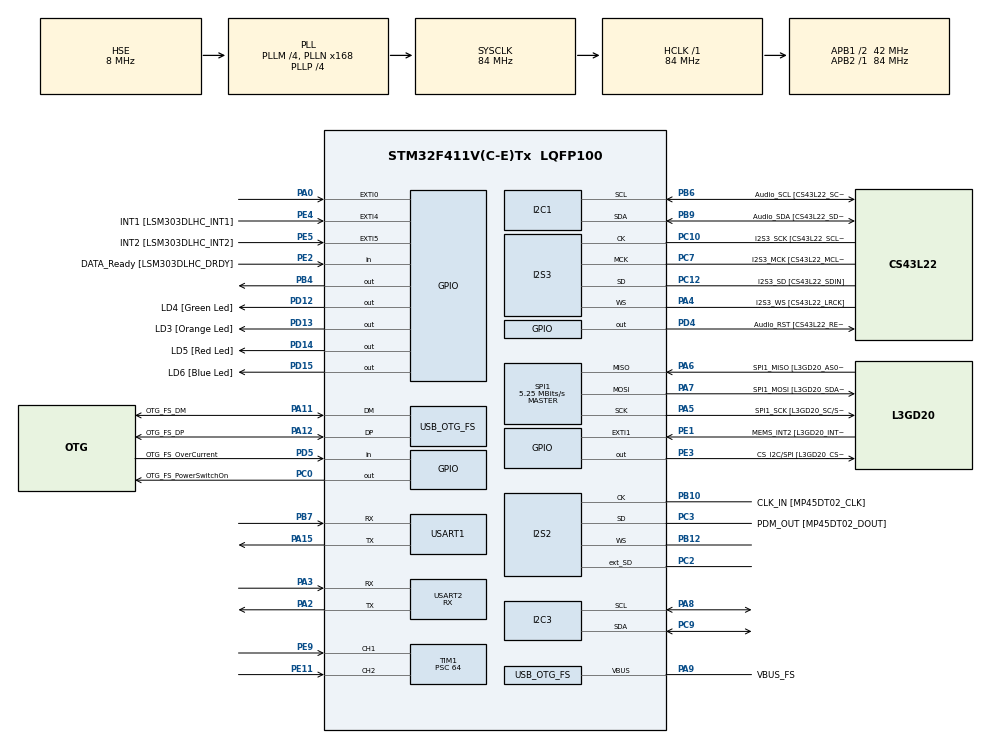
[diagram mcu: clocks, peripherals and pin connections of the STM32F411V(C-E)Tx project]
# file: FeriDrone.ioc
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FREERTOS.BinarySemaphores01=wifiBufferSemaphore,Dynamic,NULL
FREERTOS.Tasks01=merjenjeNagiba,24,512,StartMerjenjeNagiba,Default,NULL,Dynamic,NULL,NULL;trilateracija,24,512,StartTrilateracija,Default,NULL,Dynamic,NULL,NULL;pilotiranje,24,512,StartPilotiranje,Default,NULL,Dynamic,NULL,NULL;posiljanjeWifi,24,512,StartPosiljanjeWifi,Default,NULL,Dynamic,NULL,NULL;transmitPWM,24,512,StartTransmitPWM,Default,NULL,Dynamic,NULL,NULL;altitudeMeasure,24,512,StartAltitudeMeasure,Default,NULL,Dynamic,NULL,NULL
FREERTOS.configMINIMAL_STACK_SIZE=512
I2C1.I2C_Mode=I2C_Fast
I2C3.DualAddressMode=I2C_DUALADDRESS_DISABLE
I2C3.I2C_Mode=I2C_Fast
I2S2.AudioFreq=I2S_AUDIOFREQ_96K
I2S2.ErrorAudioFreq=0.15 %
I2S2.FullDuplexMode=I2S_FULLDUPLEXMODE_ENABLE
I2S2.Instance=SPI$Index
I2S2.RealAudioFreq=96.153 KHz
I2S2.VirtualMode=I2S_MODE_MASTER
I2S3.AudioFreq=I2S_AUDIOFREQ_96K
I2S3.ErrorAudioFreq=-6.99 %
I2S3.FullDuplexMode=I2S_FULLDUPLEXMODE_DISABLE
I2S3.Instance=SPI$Index
I2S3.RealAudioFreq=89.285 KHz
I2S3.VirtualMode=I2S_MODE_MASTER
Mcu.Family=STM32F4
Mcu.Name=STM32F411V(C-E)Tx
Mcu.Package=LQFP100
NVIC.OTG_FS_IRQn=true\:5\:0\:false\:false\:true\:true\:true\:true
NVIC.PriorityGroup=NVIC_PRIORITYGROUP_4
NVIC.TIM1_BRK_TIM9_IRQn=true\:5\:0\:false\:false\:true\:true\:true\:true
NVIC.TIM1_CC_IRQn=true\:5\:0\:false\:false\:true\:true\:true\:true
NVIC.TIM1_UP_TIM10_IRQn=true\:0\:0\:false\:false\:true\:false\:false\:true
NVIC.TIM3_IRQn=true\:0\:0\:false\:false\:true\:false\:true\:true
NVIC.TimeBase=TIM1_UP_TIM10_IRQn
NVIC.TimeBaseIP=TIM10
PA0-WKUP.GPIO_ModeDefaultEXTI=GPIO_MODE_EVT_RISING
PA0-WKUP.Signal=GPXTI0
PA10.GPIO_Label=OTG_FS_ID
PA10.Signal=USB_OTG_FS_ID
PA11.GPIO_Label=OTG_FS_DM
PA11.Mode=Device_Only
PA11.Signal=USB_OTG_FS_DM
PA12.GPIO_Label=OTG_FS_DP
PA12.Mode=Device_Only
PA12.Signal=USB_OTG_FS_DP
PA13.GPIO_Label=SWDIO
PA13.Mode=Serial_Wire
PA13.Signal=SYS_JTMS-SWDIO
PA14.GPIO_Label=SWCLK
PA14.Mode=Serial_Wire
PA14.Signal=SYS_JTCK-SWCLK
PA15.Mode=Asynchronous
PA15.Signal=USART1_TX
PA2.Mode=Asynchronous
PA2.Signal=USART2_TX
PA3.Mode=Asynchronous
PA3.Signal=USART2_RX
PA4.GPIO_Label=I2S3_WS [CS43L22_LRCK]
PA4.GPIO_Mode=GPIO_MODE_AF_PP
PA4.GPIO_PuPd=GPIO_NOPULL
PA4.GPIO_Speed=GPIO_SPEED_FREQ_LOW
PA4.Mode=Half_Duplex_Master
PA4.Signal=I2S3_WS
PA5.GPIO_Label=SPI1_SCK [L3GD20_SC/SPC]
PA5.Mode=Full_Duplex_Master
PA5.Signal=SPI1_SCK
PA6.GPIO_Label=SPI1_MISO [L3GD20_AS0/SDO]
PA6.Mode=Full_Duplex_Master
PA6.Signal=SPI1_MISO
PA7.GPIO_Label=SPI1_MOSI [L3GD20_SDA/SDI/SDO]
PA7.Mode=Full_Duplex_Master
PA7.Signal=SPI1_MOSI
PA8.Mode=I2C
PA8.Signal=I2C3_SCL
PA9.GPIO_Label=VBUS_FS
PA9.Mode=Activate_VBUS
PA9.Signal=USB_OTG_FS_VBUS
PB10.GPIO_Label=CLK_IN [MP45DT02_CLK]
PB10.Mode=Full_Duplex_Master
PB10.Signal=I2S2_CK
PB12.Mode=Full_Duplex_Master
PB12.Signal=I2S2_WS
PB3.GPIO_Label=SWO
PB3.Signal=SYS_JTDO-SWO
PB4.Signal=GPIO_Output
PB6.GPIO_Label=Audio_SCL [CS43L22_SCL]
PB6.GPIO_Mode=GPIO_MODE_AF_OD
PB6.GPIO_PuPd=GPIO_NOPULL
PB6.GPIO_Speed=GPIO_SPEED_FREQ_LOW
PB6.Mode=I2C
PB6.Signal=I2C1_SCL
PB7.Mode=Asynchronous
PB7.Signal=USART1_RX
PB9.GPIO_Label=Audio_SDA [CS43L22_SDA]
PB9.GPIO_Mode=GPIO_MODE_AF_OD
PB9.GPIO_PuPd=GPIO_NOPULL
PB9.GPIO_Speed=GPIO_SPEED_FREQ_LOW
PB9.Mode=I2C
PB9.Signal=I2C1_SDA
PC0.GPIO_Label=OTG_FS_PowerSwitchOn
PC0.PinState=GPIO_PIN_SET
PC0.Signal=GPIO_Output
PC10.GPIO_Label=I2S3_SCK [CS43L22_SCLK]
PC10.GPIO_Mode=GPIO_MODE_AF_PP
PC10.GPIO_PuPd=GPIO_NOPULL
PC10.GPIO_Speed=GPIO_SPEED_FREQ_LOW
PC10.Mode=Half_Duplex_Master
PC10.Signal=I2S3_CK
PC12.GPIO_Label=I2S3_SD [CS43L22_SDIN]
PC12.GPIO_Mode=GPIO_MODE_AF_PP
PC12.GPIO_PuPd=GPIO_NOPULL
PC12.GPIO_Speed=GPIO_SPEED_FREQ_LOW
PC12.Mode=Half_Duplex_Master
PC12.Signal=I2S3_SD
PC14-OSC32_IN.GPIO_Label=PC14-OSC32_IN
PC14-OSC32_IN.Signal=RCC_OSC32_IN
PC15-OSC32_OUT.GPIO_Label=PC15-OSC32_OUT
PC15-OSC32_OUT.Signal=RCC_OSC32_OUT
PC2.Mode=Full_Duplex_Master
PC2.Signal=I2S2_ext_SD
PC3.GPIO_Label=PDM_OUT [MP45DT02_DOUT]
PC3.Mode=Full_Duplex_Master
PC3.Signal=I2S2_SD
PC7.GPIO_Label=I2S3_MCK [CS43L22_MCLK]
PC7.GPIO_Mode=GPIO_MODE_AF_PP
PC7.GPIO_PuPd=GPIO_NOPULL
PC7.GPIO_Speed=GPIO_SPEED_FREQ_LOW
PC7.Mode=Master_Clock_Activated
PC7.Signal=I2S3_MCK
PC9.Mode=I2C
PC9.Signal=I2C3_SDA
PD12.GPIO_Label=LD4 [Green Led]
PD12.GPIO_PuPd=GPIO_NOPULL
PD12.GPIO_Speed=GPIO_SPEED_FREQ_LOW
PD12.Signal=GPIO_Output
PD13.GPIO_Label=LD3 [Orange Led]
PD13.GPIO_PuPd=GPIO_NOPULL
PD13.GPIO_Speed=GPIO_SPEED_FREQ_LOW
PD13.Signal=GPIO_Output
PD14.GPIO_Label=LD5 [Red Led]
PD14.GPIO_PuPd=GPIO_NOPULL
PD14.GPIO_Speed=GPIO_SPEED_FREQ_LOW
PD14.Signal=GPIO_Output
PD15.GPIO_Label=LD6 [Blue Led]
PD15.GPIO_PuPd=GPIO_NOPULL
PD15.GPIO_Speed=GPIO_SPEED_FREQ_LOW
PD15.Signal=GPIO_Output
PD4.GPIO_Label=Audio_RST [CS43L22_RESET]
PD4.Signal=GPIO_Output
PD5.GPIO_Label=OTG_FS_OverCurrent
PD5.Signal=GPIO_Input
PE1.GPIO_Label=MEMS_INT2 [L3GD20_INT2]
PE1.GPIO_ModeDefaultEXTI=GPIO_MODE_EVT_RISING
PE1.Signal=GPXTI1
PE11.Signal=S_TIM1_CH2
PE2.GPIO_Label=DATA_Ready [LSM303DLHC_DRDY]
PE2.Signal=GPIO_Input
PE3.GPIO_Label=CS_I2C/SPI [L3GD20_CS_I2C/SPI]
PE3.GPIO_Speed=GPIO_SPEED_FREQ_HIGH
PE3.Signal=GPIO_Output
PE4.GPIO_Label=INT1 [LSM303DLHC_INT1]
PE4.GPIO_ModeDefaultEXTI=GPIO_MODE_EVT_RISING
PE4.Signal=GPXTI4
PE5.GPIO_Label=INT2 [LSM303DLHC_INT2]
PE5.GPIO_ModeDefaultEXTI=GPIO_MODE_EVT_RISING
PE5.Signal=GPXTI5
PE9.Signal=S_TIM1_CH1
PH0\ -\ OSC_IN.GPIO_Label=PH0-OSC_IN
PH0\ -\ OSC_IN.Mode=HSE-External-Oscillator
PH0\ -\ OSC_IN.Signal=RCC_OSC_IN
PH1\ -\ OSC_OUT.GPIO_Label=PH1-OSC_OUT
PH1\ -\ OSC_OUT.Mode=HSE-External-Oscillator
PH1\ -\ OSC_OUT.Signal=RCC_OSC_OUT
ProjectManager.HeapSize=0x800
ProjectManager.StackSize=0x800
ProjectManager.TargetToolchain=STM32CubeIDE
RCC.48MHZClocksFreq_Value=48000000
RCC.AHBFreq_Value=84000000
RCC.APB1CLKDivider=RCC_HCLK_DIV2
RCC.APB1Freq_Value=42000000
RCC.APB1TimFreq_Value=84000000
RCC.APB2Freq_Value=84000000
RCC.APB2TimFreq_Value=84000000
RCC.CortexFreq_Value=84000000
RCC.HCLKFreq_Value=84000000
RCC.HSE_VALUE=8000000
RCC.HSI_VALUE=16000000
RCC.LSE_VALUE=32768
RCC.PLLI2SM=5
RCC.PLLI2SN=200
RCC.PLLM=4
RCC.PLLN=168
RCC.PLLP=RCC_PLLP_DIV4
RCC.PLLQ=7
RCC.SYSCLKFreq_VALUE=84000000
RCC.SYSCLKSource=RCC_SYSCLKSOURCE_PLLCLK
RCC.VCOOutputFreq_Value=336000000
SH.S_TIM1_CH1.0=TIM1_CH1,Input_Capture1_from_TI1
SH.S_TIM1_CH2.0=TIM1_CH2,TriggerSource_TI2FP2
SH.S_TIM1_CH2.1=TIM1_CH2,Input_Capture2_from_TI2
SPI1.BaudRatePrescaler=SPI_BAUDRATEPRESCALER_16
SPI1.CLKPhase=SPI_PHASE_2EDGE
SPI1.CLKPolarity=SPI_POLARITY_HIGH
SPI1.CalculateBaudRate=5.25 MBits/s
SPI1.Direction=SPI_DIRECTION_2LINES
SPI1.Mode=SPI_MODE_MASTER
SPI1.VirtualType=VM_MASTER
TIM1.Channel-Input_Capture1_from_TI1=TIM_CHANNEL_1
TIM1.Channel-Input_Capture2_from_TI2=TIM_CHANNEL_2
TIM1.Period=65535
TIM1.Prescaler=64
TIM1.Slave_TriggerPolarity=TIM_TRIGGERPOLARITY_FALLING
TIM3.Period=65535
TIM3.Prescaler=64
USART1.VirtualMode=VM_ASYNC
USART2.Mode=MODE_RX
USART2.VirtualMode=VM_ASYNC
USB_DEVICE.CLASS_NAME_FS=CDC
USB_DEVICE.VirtualMode=Cdc
USB_DEVICE.VirtualModeFS=Cdc_FS
USB_OTG_FS.VirtualMode=Device_Only
VP_FREERTOS_VS_CMSIS_V2.Mode=CMSIS_V2
VP_SYS_VS_tim10.Mode=TIM10
VP_TIM1_VS_ControllerModeReset.Mode=Reset Mode
VP_TIM3_VS_ClockSourceINT.Mode=Internal
VP_USB_DEVICE_VS_USB_DEVICE_CDC_FS.Mode=CDC_FS
board=STM32F411E-DISCO

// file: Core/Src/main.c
/* USER CODE BEGIN Header */
/**
 ******************************************************************************
 * @file           : main.c
 * @brief          : Main program body
 ******************************************************************************
 * @attention
 *
 * <h2><center>&copy; Copyright (c) 2019 STMicroelectronics.
 * All rights reserved.</center></h2>
 *
 * This software component is licensed by ST under Ultimate Liberty license
 * SLA0044, the "License"; You may not use this file except in compliance with
 * the License. You may obtain a copy of the License at:
 *                             www.st.com/SLA0044
 *
 ******************************************************************************
 */
/* USER CODE END Header */

#include "main.h"
#include "cmsis_os.h"
#include "usb_device.h"

/* USER CODE BEGIN Includes */
#include "usbd_cdc_if.h"
#include "vl53l0x_api.h"
#include "math.h"
#include "MadgwickAHRS.h"
/* USER CODE END Includes */

/* USER CODE BEGIN PD */
#define TOFS_devID 0x29

#define HELIX_FREQ 0.2f
#define HELIX_WL 5.0f
#define HELIX_STEP 1000

// MOCK
#define MOCK_TRILATERATION 1
#define MOCK_NAGIB 0
#define MOCK_ALTITUDE 0
#define MOCK_PWM_GEN 0

#define SEND_TRILATERATION 0
#define SEND_NAGIB 1
#define SEND_ALTITUDE 1
#define SEND_PWM_RAW 1
#define SEND_PWM_GEN 1
#define SEND_PWM_OUTGOING 0
#define SEND_THRUST_AIRSIM 0
#define SEND_AUTOLANDER_DEBUG 1

#define COMM_USB 0
#define COMM_WIFI 1
#define COMM_MODE COMM_WIFI

#define WIFI_BUFFER_SIZE 128
/* USER CODE END PD */

I2C_HandleTypeDef hi2c1;
I2C_HandleTypeDef hi2c3;

I2S_HandleTypeDef hi2s2;
I2S_HandleTypeDef hi2s3;

SPI_HandleTypeDef hspi1;

TIM_HandleTypeDef htim1;
TIM_HandleTypeDef htim3;

UART_HandleTypeDef huart1;
UART_HandleTypeDef huart2;

osThreadId_t merjenjeNagibaHandle;
osThreadId_t trilateracijaHandle;
osThreadId_t pilotiranjeHandle;
osThreadId_t posiljanjeWifiHandle;
osThreadId_t transmitPWMHandle;
osThreadId_t altitudeMeasureHandle;
osSemaphoreId_t wifiBufferSemaphoreHandle;
/* USER CODE BEGIN PV */

// AUTOLANDER
// algorithm
#define HEIGHT_SAMPLING_FREQ 30.0f
#define HEIGHT_SAMPLING_INTE (1.0f / HEIGHT_SAMPLING_FREQ)
#define TRILATERATION_SAMPLING_FREQ HEIGHT_SAMPLING_FREQ
#define ROUGH_EST_SAMPLES_NUM 6 // ustreza reaction time-u nekje 0.35s
volatile uint8_t heightSample_idx = 0;
volatile float heightSamples[ROUGH_EST_SAMPLES_NUM];
volatile float velocities[ROUGH_EST_SAMPLES_NUM];

// schedule
volatile uint8_t autolanderCommencing = 0;
volatile uint8_t autolanderScheduleReady = 0;
volatile uint16_t ts = 0;
volatile uint16_t tsDecel = 0;
volatile uint16_t tsStopDecel = 0;

// drone & physics
#define DRONE_MASS 0.5f
#define G 9.81f
#define OBJECT_MAX_THRUST 11.06f
#define OBJECT_NEUTRAL_THRUST (DRONE_MASS * G)

// PWM
#define PWM_FREQ 50.0f
#define THROTTLE_CHANNEL 2
#define AUTOLANDER_CHANNEL 7
#define PWM_LOW 800
#define PWM_HIGH 2050
#define PWM_PAUSE_LOW 6000
#define PWM_PAUSE_HIGH 14000
#define PWM_PACKET_LENGTH 25836
#define PWM_PAUSE 517
#define PWM_MS 1292
volatile uint16_t PWM_paket_new[8];
volatile uint8_t PWM_paket_ready = 0;
volatile uint16_t PWM_generated[8];
volatile uint8_t PWM_generated_ready = 0;
volatile uint16_t delay[18];
volatile uint8_t delay_idx = 0;

// wifi
float wifiBuffer[WIFI_BUFFER_SIZE];
volatile uint8_t wifiBufferIdx = 0;

// usb -- debug
extern float height_from_simul;
extern uint8_t height_ready;

/* USER CODE END PV */

void SystemClock_Config(void);
static void MX_GPIO_Init(void);
static void MX_I2C1_Init(void);
static void MX_I2S2_Init(void);
static void MX_I2S3_Init(void);
static void MX_SPI1_Init(void);
static void MX_I2C3_Init(void);
static void MX_TIM1_Init(void);
static void MX_TIM3_Init(void);
static void MX_USART1_UART_Init(void);
static void MX_USART2_UART_Init(void);
void StartMerjenjeNagiba(void *argument);
void StartTrilateracija(void *argument);
void StartPilotiranje(void *argument);
void StartPosiljanjeWifi(void *argument);
void StartTransmitPWM(void *argument);
void StartAltitudeMeasure(void *argument);

/* USER CODE BEGIN PFP */
uint8_t spi1_beriRegister(uint8_t);
void spi1_beriRegistre(uint8_t, uint8_t*, uint8_t);
void spi1_pisiRegister(uint8_t, uint8_t);
void initL3GD20(void);
uint8_t i2c1_pisiRegister(uint8_t, uint8_t, uint8_t);
void i2c1_beriRegistre(uint8_t, uint8_t, uint8_t*, uint8_t, uint8_t);
void initLSM303DLHC(void);
void HAL_TIM_PeriodElapsedCallback(TIM_HandleTypeDef *htim);
void initEsp8622TcpClient(void);
/* USER CODE END PFP */

/* USER CODE BEGIN 0 */

/*
 * Packs data in 5 floats large packet and adds it to queue;
 * Packet: [header * 1, values * (1-4), nil * (0-3)]
 */
void addToWifiBuffer(float* data, uint8_t size, uint8_t* lastBufferIdx){
	uint8_t nil[4] = { 0x00, 0x00, 0x00, 0x00 };
	float nil_f;
	memcpy(&nil_f, &nil, sizeof(float));
	if (wifiBufferIdx > WIFI_BUFFER_SIZE - size - 1){
		for (int i = 0; i < size; i++){
			// overwrite previous measurement of this task if buffer full
			wifiBuffer[i + *lastBufferIdx] = *(data + i);
		}
		for (int i = size; i < 5; i++) {
			wifiBuffer[i + *lastBufferIdx] = nil_f;
		}
	} else {
		for (int i = 0; i < size; i++){
			wifiBuffer[i + wifiBufferIdx] = *(data + i);
		}
		for (int i = size; i < 5; i++) {
			wifiBuffer[i + *lastBufferIdx] = nil_f;
		}
		*lastBufferIdx = wifiBufferIdx;
		wifiBufferIdx += 5;
	}

	return;
}

void addPWMToWifiBuffer(uint16_t* data, float header, uint8_t* lastBufferIdx){
	if (wifiBufferIdx > WIFI_BUFFER_SIZE - 5){
		wifiBuffer[(*lastBufferIdx)] = header;
		memcpy(&wifiBuffer[(*lastBufferIdx) + 1], data, 8 * sizeof(uint16_t));
	} else {
		wifiBuffer[wifiBufferIdx] = header;
		memcpy(&wifiBuffer[wifiBufferIdx + 1], data, 8 * sizeof(uint16_t));
		*lastBufferIdx = wifiBufferIdx;
		wifiBufferIdx += 5;
	}
}

void init_autolander(void) {
	autolanderCommencing = 1;
	autolanderScheduleReady = 0;
	ts = 0;
	heightSample_idx = 0;
}

void terminate_autolander(void) {
	autolanderCommencing = 0;
	autolanderScheduleReady = 0;
	ts = 0;
	heightSample_idx = 0;
}

uint8_t isAutolandRequested(uint16_t* PWM){
	return *(PWM + AUTOLANDER_CHANNEL) > 1800;
}

void autolander_compileSchedule(void){
	float sVel = 0.0f;
	for (uint8_t i = 0; i < ROUGH_EST_SAMPLES_NUM; i++){
		sVel -= velocities[i] / ROUGH_EST_SAMPLES_NUM;
	}
	float sAlt = 0.0f;
	for (uint8_t i = 0; i < ROUGH_EST_SAMPLES_NUM; i++){
		float v_i = sVel - i * HEIGHT_SAMPLING_INTE / 2.0f * G;
		sAlt += (heightSamples[i] + v_i * HEIGHT_SAMPLING_INTE * i) / ROUGH_EST_SAMPLES_NUM;
	}

	float h = sAlt + sVel * sVel / 2.0f / G;
	float aimedAltitude = 0.25;
	if (aimedAltitude < h / 20.0f){
		aimedAltitude = h / 20.0f;
	}
	h -= aimedAltitude;

	float F_d = OBJECT_MAX_THRUST - DRONE_MASS * G;
	float a_d = F_d / DRONE_MASS;
	float x = G * h / (G + a_d);
	float h_allowTravel = h - x;

	float timeToStartDecel = sqrt(2.0f * h_allowTravel / G);
	float moveTimeStep = sVel / G / HEIGHT_SAMPLING_INTE;

	tsDecel = (int)(timeToStartDecel / HEIGHT_SAMPLING_INTE + moveTimeStep);

	float maxVelocity = timeToStartDecel * G;
	float decelTime = maxVelocity / a_d;

	tsStopDecel = (int)(tsDecel + decelTime / HEIGHT_SAMPLING_INTE) + 1;

	autolanderScheduleReady = 1;

	if (SEND_AUTOLANDER_DEBUG) {
		float header;
		char b[] = { 0xaa, 0xa3, 0xaa, 0xa3 };
		memcpy(&header, &b, sizeof(float));

		float debug[5] = { header, sVel, sAlt, tsDecel, tsStopDecel };

		if (osSemaphoreAcquire(wifiBufferSemaphoreHandle, 5) == osOK){
			uint8_t idx = 0; // if necessary (buffer full), just overwrite data on idx 0 - nothing else is more important to send
			addToWifiBuffer(debug, 5, &idx);
			osSemaphoreRelease(wifiBufferSemaphoreHandle);
		}
	}

	return;
}

void autolander_newMeasurement(float measurement){
	if (!autolanderCommencing || autolanderScheduleReady) {
		ts++;
		return;
	}

	if (heightSample_idx < ROUGH_EST_SAMPLES_NUM){
		heightSamples[heightSample_idx] = measurement;
	} else if (heightSample_idx < ROUGH_EST_SAMPLES_NUM * 2){
		float velocityStep = (ts - ROUGH_EST_SAMPLES_NUM / 2) * HEIGHT_SAMPLING_INTE * G;
		velocities[heightSample_idx - ROUGH_EST_SAMPLES_NUM] = (heightSamples[heightSample_idx - ROUGH_EST_SAMPLES_NUM] - measurement) / (HEIGHT_SAMPLING_INTE * ROUGH_EST_SAMPLES_NUM) - velocityStep;
	}

	heightSample_idx++;

	if (heightSample_idx == ROUGH_EST_SAMPLES_NUM * 2) {
		autolander_compileSchedule();
	}

	ts++;
	return;
}

void CompressBuffer(void) {
	/* todo: Aljaz
	 *
	 * stiskanje 6 tokov (roll, pitch, yaw, pos_{x,y,z})
	 * vsak tok stiskaj posebej (vseh 6)
	 *
	 * globalno si shrani podatek o zadnji vrednosti iz vsakega toka ( float lastValue[6] )
	 * 	- da, vsakic ko kompresiras nov buffer/batch, ne zacnes znova
	 *
	 * 	sparsaj buffer - ugotovi, za kateri paket gre (0xAAAB static castan v float za roll, pitch yaw in 0xAAAC za pos_{x,y,z})
	 * 	floatu, ki je header sledijo 3 floati, ki so vrednosti; isti vrstni red, kot so nasteti (r->p->y oz. x->y->z)
	 *
	 * lahko si zamislis svoj protokol, kako bos zapisal nazaj v buffer (recimo ne rabis pisat headerjev kot celih floatov nazaj v buffer)
	 * prek USB/Wifi bo sel del bufferja; of indexa 0 do indexa wifiBufferIdx
	 * 	- kompresirano vsebino zapisi na zacetek bufferja in nastavi index, do kod naj se poslje
	 *
	*/
}

VL53L0X_Error InitDevice(VL53L0X_Dev_t *pMyDevice) {
  VL53L0X_Error Status = VL53L0X_ERROR_NONE;
  uint8_t VhvSettings, PhaseCal, isApertureSpads;
  uint32_t refSpadCount;

  if (Status == VL53L0X_ERROR_NONE)
    Status = VL53L0X_DataInit(pMyDevice);

  if (Status == VL53L0X_ERROR_NONE)
    Status = VL53L0X_StaticInit(pMyDevice);

  if (Status == VL53L0X_ERROR_NONE)
    Status = VL53L0X_PerformRefSpadManagement(pMyDevice, &refSpadCount, &isApertureSpads); // Device Initialization

  if (Status == VL53L0X_ERROR_NONE)
    Status = VL53L0X_PerformRefCalibration(pMyDevice, &VhvSettings, &PhaseCal);

  if (Status == VL53L0X_ERROR_NONE)
    Status = VL53L0X_SetDeviceMode(pMyDevice, VL53L0X_DEVICEMODE_CONTINUOUS_RANGING);

  return Status;
}

uint8_t spi1_beriRegister(uint8_t reg) {
	uint16_t buf_out, buf_in;
	reg |= 0x80;
	buf_out = reg;
	HAL_GPIO_WritePin(GPIOE, GPIO_PIN_3, GPIO_PIN_RESET);
	HAL_SPI_TransmitReceive(&hspi1, (uint8_t*) &buf_out, (uint8_t*) &buf_in, 2,
			2);
	HAL_GPIO_WritePin(GPIOE, GPIO_PIN_3, GPIO_PIN_SET);
	return buf_in >> 8;
}

void spi1_pisiRegister(uint8_t reg, uint8_t vrednost) {
	uint16_t buf_out;
	buf_out = reg | (vrednost << 8);
	HAL_GPIO_WritePin(GPIOE, GPIO_PIN_3, GPIO_PIN_RESET);
	HAL_SPI_Transmit(&hspi1, (uint8_t*) &buf_out, 2, 2);
	HAL_GPIO_WritePin(GPIOE, GPIO_PIN_3, GPIO_PIN_SET);
}

void spi1_beriRegistre(uint8_t reg, uint8_t *buffer, uint8_t velikost) {
	reg |= 0xC0;
	HAL_GPIO_WritePin(GPIOE, GPIO_PIN_3, GPIO_PIN_RESET);
	HAL_SPI_Transmit(&hspi1, &reg, 1, 10);
	HAL_SPI_Receive(&hspi1, buffer, velikost, velikost);
	HAL_GPIO_WritePin(GPIOE, GPIO_PIN_3, GPIO_PIN_SET);
}

void initL3GD20() {
	uint8_t cip = spi1_beriRegister(0x0F);
	if (cip != 0xD4)
		for (;;)
			;

	spi1_pisiRegister(0x20, 0x0F);
}

uint8_t i2c1_pisiRegister(uint8_t naprava, uint8_t reg, uint8_t podatek) {
	naprava <<= 1;
	return HAL_I2C_Mem_Write(&hi2c1, naprava, reg, I2C_MEMADD_SIZE_8BIT,
			&podatek, 1, 10);
}

void i2c1_beriRegistre(uint8_t naprava, uint8_t reg, uint8_t *podatek,
		uint8_t dolzina, uint8_t suci) {
	if ((dolzina > 1) && (naprava == 0x19))
		reg |= 0x80;
	naprava <<= suci;
	HAL_I2C_Mem_Read(&hi2c1, naprava, reg, I2C_MEMADD_SIZE_8BIT, podatek,
			dolzina, dolzina);
}

void initLSM303DLHC() {
	HAL_Delay(10);
	i2c1_pisiRegister(0x19, 0x20, 0x57); // accel; 0101 speed (100hz), 0 low power enable (no), 111 enable axis xyz
	i2c1_pisiRegister(0x19, 0x23, 0x88); // accel; 1(7); output registers not updated until MSB and LSB reading, 1(3); high resolution
	i2c1_pisiRegister(0x3c, 0x00, 0x18); // magnet 75hz
}

void initEsp8622TcpClient(){
	/*
	 *	TCP client initialization. WARNING: server needs to be running first, otherwise client restart necessary.
	 *	COMMON ISSUE: ESP8622 module replying busy. Increase timeout or add a very small
	 *	delay between transmit and receive. Or restart.
	 *	It is also possible to wait in UART_receive, until the module reply 'OK'.
	 *	WARNING: The TCP client should send data at least every 4 seconds, otherwise it gets auto
	 *	disconnected.
	 *	Uart1 (PA15_TX ; PB7_RX)-> TCP server.
	 *	Content in comments kept for debug purposes.
	 */

	uint8_t prejetoSporocilo[255] = {};

	HAL_UART_Transmit(&huart1, (uint8_t*)"AT+CWMODE=1\r\n", 13, 1000); // Station mode.
	HAL_UART_Receive(&huart1, prejetoSporocilo, 255, 1000);
	/*CDC_Transmit_FS(prejetoSporocilo, 255);
	memset(prejetoSporocilo, 0, 255);*/

	/*
	HAL_UART_Transmit(&huart1, (uint8_t*)"AT+CWLAP\r\n", 10, 1000); // Lists available APs.
	HAL_UART_Receive(&huart1, prejetoSporocilo, 255, 1000);
	/*CDC_Transmit_FS(prejetoSporocilo, 255);
	memset(prejetoSporocilo, 0, 255);*/

	HAL_UART_Transmit(&huart1, (uint8_t*)"AT+CWJAP=\"server\",\"123456780\"\r\n", 33, 1000); // Connect to designated AP.
	HAL_UART_Receive(&huart1, prejetoSporocilo, 255, 1000);
	/*CDC_Transmit_FS(prejetoSporocilo, 255);
	memset(prejetoSporocilo, 0, 255);*/

	HAL_UART_Transmit(&huart1, (uint8_t*)"AT+CWJAP?\r\n", 11, 1000); // Query APs info.
	HAL_UART_Receive(&huart1, prejetoSporocilo, 255, 1000);
	/*CDC_Transmit_FS(prejetoSporocilo, 255);
	memset(prejetoSporocilo, 0, 255);*/

	HAL_UART_Transmit(&huart1, (uint8_t*)"AT+CIPMUX=1\r\n", 13, 1000); // Enable multiple connections.
	HAL_UART_Receive(&huart1, prejetoSporocilo, 255, 1000);
	/*CDC_Transmit_FS(prejetoSporocilo, 255);
	memset(prejetoSporocilo, 0, 255);*/

	HAL_UART_Transmit(&huart1, (uint8_t*)"AT+CIPSTART=0,\"TCP\",\"192.168.4.1\",333\r\n", 39, 1000); // Establish TCP connection.
	HAL_UART_Receive(&huart1, prejetoSporocilo, 255, 1000);
	/*CDC_Transmit_FS(prejetoSporocilo, 255);
	memset(prejetoSporocilo, 0, 255);*/
}
/* USER CODE END 0 */

int main(void)
{

  /* MCU Configuration--------------------------------------------------------*/

  /* Reset of all peripherals, Initializes the Flash interface and the Systick. */
  HAL_Init();

  /* Configure the system clock */
  SystemClock_Config();

  /* Initialize all configured peripherals */
  MX_GPIO_Init();
  MX_I2C1_Init();
  MX_I2S2_Init();
  MX_I2S3_Init();
  MX_SPI1_Init();
  MX_I2C3_Init();
  MX_TIM1_Init();
  MX_TIM3_Init();
  MX_USART1_UART_Init();
  MX_USART2_UART_Init();
  /* USER CODE BEGIN 2 */
  /* init code for USB_DEVICE */
  MX_USB_DEVICE_Init();
  __HAL_I2C_ENABLE(&hi2c3);
  HAL_TIM_Base_Start(&htim3);
  HAL_TIM_Base_Start_IT(&htim3);
  initEsp8622TcpClient();
  /* USER CODE END 2 */

  osKernelInitialize();

  /* Create the semaphores(s) */
  /* definition and creation of wifiBufferSemaphore */
  const osSemaphoreAttr_t wifiBufferSemaphore_attributes = {
    .name = "wifiBufferSemaphore"
  };
  wifiBufferSemaphoreHandle = osSemaphoreNew(1, 1, &wifiBufferSemaphore_attributes);

  /* Create the thread(s) */
  /* definition and creation of merjenjeNagiba */
  const osThreadAttr_t merjenjeNagiba_attributes = {
    .name = "merjenjeNagiba",
    .priority = (osPriority_t) osPriorityNormal,
    .stack_size = 512
  };
  merjenjeNagibaHandle = osThreadNew(StartMerjenjeNagiba, NULL, &merjenjeNagiba_attributes);

  /* definition and creation of trilateracija */
  const osThreadAttr_t trilateracija_attributes = {
    .name = "trilateracija",
    .priority = (osPriority_t) osPriorityNormal,
    .stack_size = 512
  };
  trilateracijaHandle = osThreadNew(StartTrilateracija, NULL, &trilateracija_attributes);

  /* definition and creation of pilotiranje */
  const osThreadAttr_t pilotiranje_attributes = {
    .name = "pilotiranje",
    .priority = (osPriority_t) osPriorityNormal,
    .stack_size = 512
  };
  pilotiranjeHandle = osThreadNew(StartPilotiranje, NULL, &pilotiranje_attributes);

  /* definition and creation of posiljanjeWifi */
  const osThreadAttr_t posiljanjeWifi_attributes = {
    .name = "posiljanjeWifi",
    .priority = (osPriority_t) osPriorityNormal,
    .stack_size = 512
  };
  posiljanjeWifiHandle = osThreadNew(StartPosiljanjeWifi, NULL, &posiljanjeWifi_attributes);

  /* definition and creation of transmitPWM */
  const osThreadAttr_t transmitPWM_attributes = {
    .name = "transmitPWM",
    .priority = (osPriority_t) osPriorityNormal,
    .stack_size = 512
  };
  transmitPWMHandle = osThreadNew(StartTransmitPWM, NULL, &transmitPWM_attributes);

  /* definition and creation of altitudeMeasure */
  const osThreadAttr_t altitudeMeasure_attributes = {
    .name = "altitudeMeasure",
    .priority = (osPriority_t) osPriorityNormal,
    .stack_size = 512
  };
  altitudeMeasureHandle = osThreadNew(StartAltitudeMeasure, NULL, &altitudeMeasure_attributes);

  /* Start scheduler */
  osKernelStart();

  /* We should never get here as control is now taken by the scheduler */

  /* Infinite loop */
	while (1) {
	}

}

void SystemClock_Config(void)
{
  RCC_OscInitTypeDef RCC_OscInitStruct = {0};
  RCC_ClkInitTypeDef RCC_ClkInitStruct = {0};
  RCC_PeriphCLKInitTypeDef PeriphClkInitStruct = {0};

  /** Configure the main internal regulator output voltage
  */
  __HAL_RCC_PWR_CLK_ENABLE();
  __HAL_PWR_VOLTAGESCALING_CONFIG(PWR_REGULATOR_VOLTAGE_SCALE1);
  /** Initializes the CPU, AHB and APB busses clocks
  */
  RCC_OscInitStruct.OscillatorType = RCC_OSCILLATORTYPE_HSE;
  RCC_OscInitStruct.HSEState = RCC_HSE_ON;
  RCC_OscInitStruct.PLL.PLLState = RCC_PLL_ON;
  RCC_OscInitStruct.PLL.PLLSource = RCC_PLLSOURCE_HSE;
  RCC_OscInitStruct.PLL.PLLM = 4;
  RCC_OscInitStruct.PLL.PLLN = 168;
  RCC_OscInitStruct.PLL.PLLP = RCC_PLLP_DIV4;
  RCC_OscInitStruct.PLL.PLLQ = 7;
  if (HAL_RCC_OscConfig(&RCC_OscInitStruct) != HAL_OK)
  {
    Error_Handler();
  }
  /** Initializes the CPU, AHB and APB busses clocks
  */
  RCC_ClkInitStruct.ClockType = RCC_CLOCKTYPE_HCLK|RCC_CLOCKTYPE_SYSCLK
                              |RCC_CLOCKTYPE_PCLK1|RCC_CLOCKTYPE_PCLK2;
  RCC_ClkInitStruct.SYSCLKSource = RCC_SYSCLKSOURCE_PLLCLK;
  RCC_ClkInitStruct.AHBCLKDivider = RCC_SYSCLK_DIV1;
  RCC_ClkInitStruct.APB1CLKDivider = RCC_HCLK_DIV2;
  RCC_ClkInitStruct.APB2CLKDivider = RCC_HCLK_DIV1;

  if (HAL_RCC_ClockConfig(&RCC_ClkInitStruct, FLASH_LATENCY_2) != HAL_OK)
  {
    Error_Handler();
  }
  PeriphClkInitStruct.PeriphClockSelection = RCC_PERIPHCLK_I2S;
  PeriphClkInitStruct.PLLI2S.PLLI2SN = 200;
  PeriphClkInitStruct.PLLI2S.PLLI2SM = 5;
  PeriphClkInitStruct.PLLI2S.PLLI2SR = 2;
  if (HAL_RCCEx_PeriphCLKConfig(&PeriphClkInitStruct) != HAL_OK)
  {
    Error_Handler();
  }
}

static void MX_I2C1_Init(void)
{

  hi2c1.Instance = I2C1;
  hi2c1.Init.ClockSpeed = 400000;
  hi2c1.Init.DutyCycle = I2C_DUTYCYCLE_2;
  hi2c1.Init.OwnAddress1 = 0;
  hi2c1.Init.AddressingMode = I2C_ADDRESSINGMODE_7BIT;
  hi2c1.Init.DualAddressMode = I2C_DUALADDRESS_DISABLE;
  hi2c1.Init.OwnAddress2 = 0;
  hi2c1.Init.GeneralCallMode = I2C_GENERALCALL_DISABLE;
  hi2c1.Init.NoStretchMode = I2C_NOSTRETCH_DISABLE;
  if (HAL_I2C_Init(&hi2c1) != HAL_OK)
  {
    Error_Handler();
  }

}

static void MX_I2C3_Init(void)
{

  hi2c3.Instance = I2C3;
  hi2c3.Init.ClockSpeed = 400000;
  hi2c3.Init.DutyCycle = I2C_DUTYCYCLE_2;
  hi2c3.Init.OwnAddress1 = 0;
  hi2c3.Init.AddressingMode = I2C_ADDRESSINGMODE_7BIT;
  hi2c3.Init.DualAddressMode = I2C_DUALADDRESS_DISABLE;
  hi2c3.Init.OwnAddress2 = 0;
  hi2c3.Init.GeneralCallMode = I2C_GENERALCALL_DISABLE;
  hi2c3.Init.NoStretchMode = I2C_NOSTRETCH_DISABLE;
  if (HAL_I2C_Init(&hi2c3) != HAL_OK)
  {
    Error_Handler();
  }

}

static void MX_I2S2_Init(void)
{

  hi2s2.Instance = SPI2;
  hi2s2.Init.Mode = I2S_MODE_MASTER_TX;
  hi2s2.Init.Standard = I2S_STANDARD_PHILIPS;
  hi2s2.Init.DataFormat = I2S_DATAFORMAT_16B;
  hi2s2.Init.MCLKOutput = I2S_MCLKOUTPUT_DISABLE;
  hi2s2.Init.AudioFreq = I2S_AUDIOFREQ_96K;
  hi2s2.Init.CPOL = I2S_CPOL_LOW;
  hi2s2.Init.ClockSource = I2S_CLOCK_PLL;
  hi2s2.Init.FullDuplexMode = I2S_FULLDUPLEXMODE_ENABLE;
  if (HAL_I2S_Init(&hi2s2) != HAL_OK)
  {
    Error_Handler();
  }

}

static void MX_I2S3_Init(void)
{

  hi2s3.Instance = SPI3;
  hi2s3.Init.Mode = I2S_MODE_MASTER_TX;
  hi2s3.Init.Standard = I2S_STANDARD_PHILIPS;
  hi2s3.Init.DataFormat = I2S_DATAFORMAT_16B;
  hi2s3.Init.MCLKOutput = I2S_MCLKOUTPUT_ENABLE;
  hi2s3.Init.AudioFreq = I2S_AUDIOFREQ_96K;
  hi2s3.Init.CPOL = I2S_CPOL_LOW;
  hi2s3.Init.ClockSource = I2S_CLOCK_PLL;
  hi2s3.Init.FullDuplexMode = I2S_FULLDUPLEXMODE_DISABLE;
  if (HAL_I2S_Init(&hi2s3) != HAL_OK)
  {
    Error_Handler();
  }

}

static void MX_SPI1_Init(void)
{

  /* SPI1 parameter configuration*/
  hspi1.Instance = SPI1;
  hspi1.Init.Mode = SPI_MODE_MASTER;
  hspi1.Init.Direction = SPI_DIRECTION_2LINES;
  hspi1.Init.DataSize = SPI_DATASIZE_8BIT;
  hspi1.Init.CLKPolarity = SPI_POLARITY_HIGH;
  hspi1.Init.CLKPhase = SPI_PHASE_2EDGE;
  hspi1.Init.NSS = SPI_NSS_SOFT;
  hspi1.Init.BaudRatePrescaler = SPI_BAUDRATEPRESCALER_16;
  hspi1.Init.FirstBit = SPI_FIRSTBIT_MSB;
  hspi1.Init.TIMode = SPI_TIMODE_DISABLE;
  hspi1.Init.CRCCalculation = SPI_CRCCALCULATION_DISABLE;
  hspi1.Init.CRCPolynomial = 10;
  if (HAL_SPI_Init(&hspi1) != HAL_OK)
  {
    Error_Handler();
  }

}

static void MX_TIM1_Init(void)
{

  /* USER CODE BEGIN TIM1_Init 0 */
	/*
	 * todo: fix in gui so correct settings don't get overwritten on code generation
	 *
htim1.Instance = TIM1;
  htim1.Init.Prescaler = 64;
  htim1.Init.CounterMode = TIM_COUNTERMODE_UP;
  htim1.Init.Period = 65535;
  htim1.Init.ClockDivision = TIM_CLOCKDIVISION_DIV1;
  htim1.Init.RepetitionCounter = 0;
  htim1.Init.AutoReloadPreload = TIM_AUTORELOAD_PRELOAD_DISABLE;
  if (HAL_TIM_Base_Init(&htim1) != HAL_OK)
  {
    Error_Handler();
  }
  if (HAL_TIM_IC_Init(&htim1) != HAL_OK)
  {
    Error_Handler();
  }
  sSlaveConfig.SlaveMode = TIM_SLAVEMODE_RESET;
  sSlaveConfig.InputTrigger = TIM_TS_TI2FP2;
  sSlaveConfig.TriggerPolarity = TIM_TRIGGERPOLARITY_RISING;
  sSlaveConfig.TriggerPrescaler = TIM_ICPSC_DIV1;
  sSlaveConfig.TriggerFilter = 0;
  if (HAL_TIM_SlaveConfigSynchro(&htim1, &sSlaveConfig) != HAL_OK)
  {
    Error_Handler();
  }
  sMasterConfig.MasterOutputTrigger = TIM_TRGO_RESET;
  sMasterConfig.MasterSlaveMode = TIM_MASTERSLAVEMODE_DISABLE;
  if (HAL_TIMEx_MasterConfigSynchronization(&htim1, &sMasterConfig) != HAL_OK)
  {
    Error_Handler();
  }
  sConfigIC.ICPolarity = TIM_INPUTCHANNELPOLARITY_FALLING;
  sConfigIC.ICSelection = TIM_ICSELECTION_INDIRECTTI;
  sConfigIC.ICPrescaler = TIM_ICPSC_DIV1;
  sConfigIC.ICFilter = 0;
  if (HAL_TIM_IC_ConfigChannel(&htim1, &sConfigIC, TIM_CHANNEL_1) != HAL_OK)
  {
    Error_Handler();
  }
  sConfigIC.ICPolarity = TIM_INPUTCHANNELPOLARITY_RISING;
  sConfigIC.ICSelection = TIM_ICSELECTION_DIRECTTI;
  if (HAL_TIM_IC_ConfigChannel(&htim1, &sConfigIC, TIM_CHANNEL_2) != HAL_OK)
  {
    Error_Handler();
  }

  HAL_TIM_IC_Start_IT(&htim1, TIM_CHANNEL_2);
  HAL_TIM_IC_Start(&htim1, TIM_CHANNEL_1);
	*/
  /* USER CODE END TIM1_Init 0 */

  TIM_SlaveConfigTypeDef sSlaveConfig = {0};
  TIM_MasterConfigTypeDef sMasterConfig = {0};
  TIM_IC_InitTypeDef sConfigIC = {0};

  htim1.Instance = TIM1;
    htim1.Init.Prescaler = 64;
    htim1.Init.CounterMode = TIM_COUNTERMODE_UP;
    htim1.Init.Period = 65535;
    htim1.Init.ClockDivision = TIM_CLOCKDIVISION_DIV1;
    htim1.Init.RepetitionCounter = 0;
    htim1.Init.AutoReloadPreload = TIM_AUTORELOAD_PRELOAD_DISABLE;
    if (HAL_TIM_Base_Init(&htim1) != HAL_OK)
    {
      Error_Handler();
    }
    if (HAL_TIM_IC_Init(&htim1) != HAL_OK)
    {
      Error_Handler();
    }
    sSlaveConfig.SlaveMode = TIM_SLAVEMODE_RESET;
    sSlaveConfig.InputTrigger = TIM_TS_TI2FP2;
    sSlaveConfig.TriggerPolarity = TIM_TRIGGERPOLARITY_RISING;
    sSlaveConfig.TriggerPrescaler = TIM_ICPSC_DIV1;
    sSlaveConfig.TriggerFilter = 0;
    if (HAL_TIM_SlaveConfigSynchro(&htim1, &sSlaveConfig) != HAL_OK)
    {
      Error_Handler();
    }
    sMasterConfig.MasterOutputTrigger = TIM_TRGO_RESET;
    sMasterConfig.MasterSlaveMode = TIM_MASTERSLAVEMODE_DISABLE;
    if (HAL_TIMEx_MasterConfigSynchronization(&htim1, &sMasterConfig) != HAL_OK)
    {
      Error_Handler();
    }
    sConfigIC.ICPolarity = TIM_INPUTCHANNELPOLARITY_FALLING;
    sConfigIC.ICSelection = TIM_ICSELECTION_INDIRECTTI;
    sConfigIC.ICPrescaler = TIM_ICPSC_DIV1;
    sConfigIC.ICFilter = 0;
    if (HAL_TIM_IC_ConfigChannel(&htim1, &sConfigIC, TIM_CHANNEL_1) != HAL_OK)
    {
      Error_Handler();
    }
    sConfigIC.ICPolarity = TIM_INPUTCHANNELPOLARITY_RISING;
    sConfigIC.ICSelection = TIM_ICSELECTION_DIRECTTI;
    if (HAL_TIM_IC_ConfigChannel(&htim1, &sConfigIC, TIM_CHANNEL_2) != HAL_OK)
    {
      Error_Handler();
    }

    HAL_TIM_IC_Start_IT(&htim1, TIM_CHANNEL_2);
    HAL_TIM_IC_Start(&htim1, TIM_CHANNEL_1);

}

static void MX_TIM3_Init(void)
{

  TIM_ClockConfigTypeDef sClockSourceConfig = {0};
  TIM_MasterConfigTypeDef sMasterConfig = {0};

  htim3.Instance = TIM3;
  htim3.Init.Prescaler = 64;
  htim3.Init.CounterMode = TIM_COUNTERMODE_UP;
  htim3.Init.Period = 65535;
  htim3.Init.ClockDivision = TIM_CLOCKDIVISION_DIV1;
  htim3.Init.AutoReloadPreload = TIM_AUTORELOAD_PRELOAD_DISABLE;
  if (HAL_TIM_Base_Init(&htim3) != HAL_OK)
  {
    Error_Handler();
  }
  sClockSourceConfig.ClockSource = TIM_CLOCKSOURCE_INTERNAL;
  if (HAL_TIM_ConfigClockSource(&htim3, &sClockSourceConfig) != HAL_OK)
  {
    Error_Handler();
  }
  sMasterConfig.MasterOutputTrigger = TIM_TRGO_RESET;
  sMasterConfig.MasterSlaveMode = TIM_MASTERSLAVEMODE_DISABLE;
  if (HAL_TIMEx_MasterConfigSynchronization(&htim3, &sMasterConfig) != HAL_OK)
  {
    Error_Handler();
  }

}

static void MX_USART1_UART_Init(void)
{

  huart1.Instance = USART1;
  huart1.Init.BaudRate = 115200;
  huart1.Init.WordLength = UART_WORDLENGTH_8B;
  huart1.Init.StopBits = UART_STOPBITS_1;
  huart1.Init.Parity = UART_PARITY_NONE;
  huart1.Init.Mode = UART_MODE_TX_RX;
  huart1.Init.HwFlowCtl = UART_HWCONTROL_NONE;
  huart1.Init.OverSampling = UART_OVERSAMPLING_16;
  if (HAL_UART_Init(&huart1) != HAL_OK)
  {
    Error_Handler();
  }

}

static void MX_USART2_UART_Init(void)
{

  huart2.Instance = USART2;
  huart2.Init.BaudRate = 115200;
  huart2.Init.WordLength = UART_WORDLENGTH_8B;
  huart2.Init.StopBits = UART_STOPBITS_1;
  huart2.Init.Parity = UART_PARITY_NONE;
  huart2.Init.Mode = UART_MODE_RX;
  huart2.Init.HwFlowCtl = UART_HWCONTROL_NONE;
  huart2.Init.OverSampling = UART_OVERSAMPLING_16;
  if (HAL_UART_Init(&huart2) != HAL_OK)
  {
    Error_Handler();
  }

}

static void MX_GPIO_Init(void)
{
  GPIO_InitTypeDef GPIO_InitStruct = {0};

  /* GPIO Ports Clock Enable */
  __HAL_RCC_GPIOE_CLK_ENABLE();
  __HAL_RCC_GPIOC_CLK_ENABLE();
  __HAL_RCC_GPIOH_CLK_ENABLE();
  __HAL_RCC_GPIOA_CLK_ENABLE();
  __HAL_RCC_GPIOB_CLK_ENABLE();
  __HAL_RCC_GPIOD_CLK_ENABLE();

  /*Configure GPIO pin Output Level */
  HAL_GPIO_WritePin(CS_I2C_SPI_GPIO_Port, CS_I2C_SPI_Pin, GPIO_PIN_RESET);

  /*Configure GPIO pin Output Level */
  HAL_GPIO_WritePin(OTG_FS_PowerSwitchOn_GPIO_Port, OTG_FS_PowerSwitchOn_Pin, GPIO_PIN_SET);

  /*Configure GPIO pin Output Level */
  HAL_GPIO_WritePin(GPIOD, LD4_Pin|LD3_Pin|LD5_Pin|LD6_Pin
                          |Audio_RST_Pin, GPIO_PIN_RESET);

  /*Configure GPIO pin Output Level */
  HAL_GPIO_WritePin(GPIOB, GPIO_PIN_4, GPIO_PIN_RESET);

  /*Configure GPIO pin : DATA_Ready_Pin */
  GPIO_InitStruct.Pin = DATA_Ready_Pin;
  GPIO_InitStruct.Mode = GPIO_MODE_INPUT;
  GPIO_InitStruct.Pull = GPIO_NOPULL;
  HAL_GPIO_Init(DATA_Ready_GPIO_Port, &GPIO_InitStruct);

  /*Configure GPIO pin : CS_I2C_SPI_Pin */
  GPIO_InitStruct.Pin = CS_I2C_SPI_Pin;
  GPIO_InitStruct.Mode = GPIO_MODE_OUTPUT_PP;
  GPIO_InitStruct.Pull = GPIO_NOPULL;
  GPIO_InitStruct.Speed = GPIO_SPEED_FREQ_HIGH;
  HAL_GPIO_Init(CS_I2C_SPI_GPIO_Port, &GPIO_InitStruct);

  /*Configure GPIO pins : INT1_Pin INT2_Pin MEMS_INT2_Pin */
  GPIO_InitStruct.Pin = INT1_Pin|INT2_Pin|MEMS_INT2_Pin;
  GPIO_InitStruct.Mode = GPIO_MODE_EVT_RISING;
  GPIO_InitStruct.Pull = GPIO_NOPULL;
  HAL_GPIO_Init(GPIOE, &GPIO_InitStruct);

  /*Configure GPIO pin : OTG_FS_PowerSwitchOn_Pin */
  GPIO_InitStruct.Pin = OTG_FS_PowerSwitchOn_Pin;
  GPIO_InitStruct.Mode = GPIO_MODE_OUTPUT_PP;
  GPIO_InitStruct.Pull = GPIO_NOPULL;
  GPIO_InitStruct.Speed = GPIO_SPEED_FREQ_LOW;
  HAL_GPIO_Init(OTG_FS_PowerSwitchOn_GPIO_Port, &GPIO_InitStruct);

  /*Configure GPIO pin : PA0 */
  GPIO_InitStruct.Pin = GPIO_PIN_0;
  GPIO_InitStruct.Mode = GPIO_MODE_EVT_RISING;
  GPIO_InitStruct.Pull = GPIO_NOPULL;
  HAL_GPIO_Init(GPIOA, &GPIO_InitStruct);

  /*Configure GPIO pins : LD4_Pin LD3_Pin LD5_Pin LD6_Pin
                           Audio_RST_Pin */
  GPIO_InitStruct.Pin = LD4_Pin|LD3_Pin|LD5_Pin|LD6_Pin
                          |Audio_RST_Pin;
  GPIO_InitStruct.Mode = GPIO_MODE_OUTPUT_PP;
  GPIO_InitStruct.Pull = GPIO_NOPULL;
  GPIO_InitStruct.Speed = GPIO_SPEED_FREQ_LOW;
  HAL_GPIO_Init(GPIOD, &GPIO_InitStruct);

  /*Configure GPIO pin : OTG_FS_OverCurrent_Pin */
  GPIO_InitStruct.Pin = OTG_FS_OverCurrent_Pin;
  GPIO_InitStruct.Mode = GPIO_MODE_INPUT;
  GPIO_InitStruct.Pull = GPIO_NOPULL;
  HAL_GPIO_Init(OTG_FS_OverCurrent_GPIO_Port, &GPIO_InitStruct);

  /*Configure GPIO pin : PB4 */
  GPIO_InitStruct.Pin = GPIO_PIN_4;
  GPIO_InitStruct.Mode = GPIO_MODE_OUTPUT_PP;
  GPIO_InitStruct.Pull = GPIO_NOPULL;
  GPIO_InitStruct.Speed = GPIO_SPEED_FREQ_LOW;
  HAL_GPIO_Init(GPIOB, &GPIO_InitStruct);

}

void StartMerjenjeNagiba(void *argument)
{
  /* init code for USB_DEVICE */
  MX_USB_DEVICE_Init();
  /* USER CODE BEGIN 5 */

	float rezultat[4];
	char b[] = { 0xaa, 0xab, 0xaa, 0xab };
	memcpy(&rezultat[0], &b, sizeof(float));
	uint8_t lastBufferIdx = 0;
	uint8_t iter = 0;
	uint8_t send_module = 5;

	if (MOCK_NAGIB) {
		// delay
		float freq = HELIX_FREQ * HELIX_STEP;
		float delay = 1000.0f / freq;
		uint32_t ticksDelay = (uint32_t) (delay / 1);

		float eps = 0.0001;
		float len_deriv = sqrt(/*derivative_x * derivative_x + derivative_y * derivative_y ==*/1 + HELIX_WL * HELIX_WL);
		float derivative_z = HELIX_WL / len_deriv;

		// loop
		float t = 0.0f;
		int reverse = 1;
		for (;;){
			uint32_t lastTick = osKernelGetTickCount();

			float derivative_x = -sin(t) / len_deriv;
			float derivative_y = cos(t) / len_deriv;

			float pitch = asin(-derivative_y);
			float yaw = atan2(derivative_x, derivative_z);
			float roll = -sin(t) / 10.0f;

			rezultat[1] = roll;
			rezultat[2] = pitch;
			rezultat[3] = yaw;

			if (SEND_NAGIB && iter % send_module == 0) {
				if (osSemaphoreAcquire(wifiBufferSemaphoreHandle, 5) == osOK){
					addToWifiBuffer(rezultat, 4, &lastBufferIdx);
					osSemaphoreRelease(wifiBufferSemaphoreHandle);
				}
			}

			t += reverse * M_PI * 2 / freq;
			if (t <= eps || t >= M_PI * 2 - eps) {
				reverse *= -1;
			}

			iter++;
			osDelayUntil(lastTick + ticksDelay);
		}
	} else {
		// init
		__HAL_SPI_ENABLE(&hspi1);
		HAL_GPIO_WritePin(GPIOE, GPIO_PIN_3, GPIO_PIN_SET);
		initL3GD20();

		__HAL_I2C_ENABLE(&hi2c1);
		initLSM303DLHC();

		// delay
		float freq = MADGWICK_FREQ;
		float delay = 1000.0f / freq;
		uint32_t ticksDelay = (uint32_t) (delay / 1);

		int16_t meritev[9];
		for (;;) {
			HAL_GPIO_TogglePin(GPIOD, GPIO_PIN_14);

			uint32_t lastTick = osKernelGetTickCount();

			spi1_beriRegistre(0x28, (uint8_t*) &meritev[0], 6); // gyros
			i2c1_beriRegistre(0x19, 0x28, (uint8_t*) &meritev[3], 6, 1); // accel
			i2c1_beriRegistre(0x3c, 0x03, (uint8_t*) &meritev[6], 6, 0); // magnet
			MadgwickAHRSupdate(-meritev[1] * 0.00875 * M_PI / 180, meritev[0] * 0.00875 * M_PI / 180, meritev[2] * 0.00875 * M_PI / 180,
					meritev[3], meritev[4], meritev[5],
					meritev[6], meritev[8], meritev[7]);

			float roll = atan2(2 * (q0 * q1 + q2 * q3), 1 - 2 * (q1 * q1 + q2 * q2)) * 180 / M_PI;
			float pitch = asin(2 * (q0 * q2 - q3 * q1)) * 180 / M_PI;
			float yaw = atan2(2 * (q0 * q3 + q1 * q2), 1 - 2 * (q2 * q2 + q3 * q3)) * 180 / M_PI;

			rezultat[1] = roll;
			rezultat[2] = pitch;
			rezultat[3] = yaw;

			if (SEND_NAGIB && iter % send_module == 0) {
				if (osSemaphoreAcquire(wifiBufferSemaphoreHandle, 5) == osOK){
					addToWifiBuffer(rezultat, 4, &lastBufferIdx);
					osSemaphoreRelease(wifiBufferSemaphoreHandle);
				}
			}

			iter++;
			osDelayUntil(lastTick + ticksDelay);
		}
	}
  /* USER CODE END 5 */
}

void StartTrilateracija(void *argument)
{
  /* USER CODE BEGIN StartTrilateracija */

	float rezultat[4];
	char b[] = { 0xaa, 0xac, 0xaa, 0xac };
	memcpy(&rezultat[0], &b, sizeof(float));
	uint8_t lastBufferIdx = 0;

	if (MOCK_TRILATERATION) {
		// delay
		float freq = 25.0f;//HELIX_FREQ * HELIX_STEP / 2;
		float delay = 1000.0f / freq;
		uint32_t ticksDelay = (uint32_t) (delay / 1);

		float eps = 0.0001;

		// loop
		float t = 0.0f;
		int reverse = 1;
		for (;;) {
			//HAL_GPIO_TogglePin(GPIOD, GPIO_PIN_14);

			uint32_t lastTick = osKernelGetTickCount();

			float pos_x = cos(t);
			float pos_y = sin(t);
			float pos_z = t;

			rezultat[1] = pos_x;
			rezultat[2] = pos_y;
			rezultat[3] = pos_z;

			//if (SEND_TRILATERATION) {
			if (0) {
				if (osSemaphoreAcquire(wifiBufferSemaphoreHandle, ticksDelay) == osOK){
					addToWifiBuffer(rezultat, 4, &lastBufferIdx);
					osSemaphoreRelease(wifiBufferSemaphoreHandle);
				}
			}

			t += reverse * M_PI * 2 / freq;
			if (t <= eps || t >= M_PI * 2 - eps) {
				reverse *= -1;
			}

			osDelayUntil(lastTick + ticksDelay);
		}
	} else {
		for (;;) {
			osDelay(100);
		}
	}

  /* USER CODE END StartTrilateracija */
}

void StartPilotiranje(void *argument)
{
  /* USER CODE BEGIN StartPilotiranje */
	uint8_t lastBufferIdx = 0;
	uint8_t iter = 0;
	uint8_t send_module = 1;

	for (;;) {
		if (PWM_paket_ready) {
			HAL_GPIO_TogglePin(GPIOD, GPIO_PIN_13);

			uint16_t PWM[8];

			for (uint8_t i = 0; i < 8; i++) {
				// todo: samo menjaj kazalce
				PWM[i] = PWM_paket_new[i];
			}

			if (SEND_PWM_RAW && iter % send_module == 0) {
				float header;
				char b[] = { 0xaa, 0xae, 0xaa, 0xae };
				memcpy(&header, &b, sizeof(float));
				if (osSemaphoreAcquire(wifiBufferSemaphoreHandle, 5) == osOK){
					addPWMToWifiBuffer(&PWM[0], header, &lastBufferIdx);
					osSemaphoreRelease(wifiBufferSemaphoreHandle);
				}
			}

			uint8_t autolander = isAutolandRequested(&PWM[0]);
			if (autolander && !autolanderCommencing) {
				init_autolander();
			} else if (!autolander && autolanderCommencing){
				terminate_autolander();
			}

			if (autolanderCommencing) {
				if (autolanderScheduleReady) {
					if (ts < tsDecel) {
						PWM[THROTTLE_CHANNEL] = PWM_LOW;
					} else if (ts < tsStopDecel) {
						PWM[THROTTLE_CHANNEL] = PWM_HIGH;
					} else {
						PWM[THROTTLE_CHANNEL] = (int)(PWM_LOW + (float)(PWM_HIGH - PWM_LOW) * (OBJECT_NEUTRAL_THRUST * 0.90f / OBJECT_MAX_THRUST));
					}
				} else {
					PWM[THROTTLE_CHANNEL] = PWM_LOW;
				}
			}

			for (uint8_t i = 0; i < 8; i++) {
				// todo: samo menjaj kazalce
				PWM_generated[i] = PWM[i];
				PWM_generated_ready = 1;
			}

			if (SEND_PWM_GEN && iter % send_module == 0) {
				float header;
				char b[] = { 0xaa, 0xaf, 0xaa, 0xaf };
				memcpy(&header, &b, sizeof(float));
				if (osSemaphoreAcquire(wifiBufferSemaphoreHandle, 5) == osOK){
					addPWMToWifiBuffer(&PWM_generated[0], header, &lastBufferIdx);
					osSemaphoreRelease(wifiBufferSemaphoreHandle);
				}
			}

			iter++;
			PWM_paket_ready = 0;
		}
		osDelay(1);
	}
  /* USER CODE END StartPilotiranje */
}

void StartPosiljanjeWifi(void *argument)
{
  /* USER CODE BEGIN StartPosiljanjeWifi */
	// delay
	float floatsPerSec = 0.0f
			+ SEND_ALTITUDE * HEIGHT_SAMPLING_FREQ * 5.0f
			+ SEND_NAGIB * MADGWICK_FREQ * 5.0f
			//+ SEND_TRILATERATION * TRILATERATION_SAMPLING_FREQ * 5.0f
			+ (SEND_PWM_GEN + SEND_PWM_RAW + SEND_PWM_OUTGOING) * PWM_FREQ * 5.0f
			+ SEND_THRUST_AIRSIM * HEIGHT_SAMPLING_FREQ * 5.0f
			+ SEND_AUTOLANDER_DEBUG * 5.0f; // not sent each second, but important

	float freq = floatsPerSec / (WIFI_BUFFER_SIZE * 0.7f); // nekaj rezerve
	float delay = 1000.0f / freq;
	uint32_t ticksDelay = (uint32_t) (delay / 1);

  /* Infinite loop */
	if (COMM_MODE == COMM_USB) {
		for (;;) {
			uint32_t lastTick = osKernelGetTickCount();

			if (osSemaphoreAcquire(wifiBufferSemaphoreHandle, ticksDelay) == osOK) {
				if (wifiBufferIdx != 0) {
					CompressBuffer();
					CDC_Transmit_FS((uint8_t*) &wifiBuffer, wifiBufferIdx * sizeof(float));
					wifiBufferIdx = 0;
				}
				osSemaphoreRelease(wifiBufferSemaphoreHandle);
			}

			osDelayUntil(lastTick + ticksDelay);
		}
	} else if (COMM_MODE == COMM_WIFI) {
		uint8_t ATResponse[24] = {};
		char ATCommand[20];
		for (;;) {
			// WiFi: send from TCP client to TCP server.
			uint32_t lastTick = osKernelGetTickCount();

			if (osSemaphoreAcquire(wifiBufferSemaphoreHandle, ticksDelay) == osOK) {
				if (wifiBufferIdx != 0) {
					HAL_GPIO_TogglePin(GPIOD, GPIO_PIN_12);

					CompressBuffer();

					// Transmit delays: can be further decreased (tested with down to 50, still worked)
					// Receive delays: ¯\_(ツ)_/¯
					// Niko: kar se tice OSa pa casov nisem nic spreminjal.

					uint16_t packetSize = wifiBufferIdx * sizeof(float);
					uint8_t packetSize_digitsNum = 1;
					if (packetSize >= 10)
						packetSize_digitsNum++;
					if (packetSize >= 100)
						packetSize_digitsNum++;
					if (packetSize >= 1000)
						packetSize_digitsNum++;

					strcpy(ATCommand, "AT+CIPSEND=0,");
					sprintf(&ATCommand[13], "%d", packetSize);
					strcat(ATCommand, "\r\n");

					HAL_UART_Transmit(&huart1, (uint8_t*)&ATCommand[0], 15 + packetSize_digitsNum, ticksDelay); // Prepare to send data. 1st param: connection ID ; 2nd param: data length.
					//HAL_UART_Receive(&huart1, ATResponse, 24, 250);

					osDelay(20);

					HAL_UART_Transmit(&huart1, (uint8_t*)&wifiBuffer, packetSize, ticksDelay); // Actually send designated data.
					//HAL_UART_Receive(&huart1, ATResponse, 24, 250);

					wifiBufferIdx = 0;
				}
				osSemaphoreRelease(wifiBufferSemaphoreHandle);
			}

			osDelayUntil(lastTick + ticksDelay);
		}
	}
  /* USER CODE END StartPosiljanjeWifi */
}

void StartTransmitPWM(void *argument)
{
  /* USER CODE BEGIN StartTransmitPWM */
	/* Infinite loop */
	// MOCK
	uint16_t prev_ts = 0xFFFF;
	uint8_t lastBufferIdx = 0;

	// PWM
	/*
	 uint32_t pwm_prev_packet_start = 0;
	 uint32_t start;
	 uint32_t temp;
	 uint32_t event[18];
	 */
	uint16_t PWM_total;
	uint8_t first_iter = 1;
	uint8_t ticksDelay = 18; // 20 max, some slack

	for (;;) {
		uint32_t lastTick = osKernelGetTickCount();

		if (1) {
		//if (PWM_generated_ready) {
			if (MOCK_PWM_GEN) {
				if (SEND_PWM_OUTGOING) {
					float header;
					char b[] = { 0xaa, 0xa0, 0xaa, 0xa0 };
					memcpy(&header, &b, sizeof(float));
					if (osSemaphoreAcquire(wifiBufferSemaphoreHandle, 5) == osOK) {
						addPWMToWifiBuffer(&PWM_generated[0], header, &lastBufferIdx);
						osSemaphoreRelease(wifiBufferSemaphoreHandle);
					}
				}

				if (SEND_THRUST_AIRSIM) {
					if (prev_ts != ts) {
						float thrust = (float) (PWM_generated[THROTTLE_CHANNEL] - PWM_LOW) / (float) (PWM_HIGH - PWM_LOW);
						CDC_Transmit_FS((uint8_t*) &thrust, sizeof(float));

						prev_ts = ts;
					}
				}

				PWM_generated_ready = 0;
			} else {
				//uint16_t PWM_demo[] = { 1421, 1421, 1421, 1421, 1421, 1421, 1421, 1421 };

				//PWM_total = PWM_demo[0];
				PWM_total = PWM_generated[0];
				delay[0] = PWM_PAUSE;
				//delay[1] = PWM_demo[0];
				delay[1] = PWM_generated[0];
				for (uint8_t i = 1; i < 8; i++) {
					delay[i * 2] = PWM_PAUSE;
					//delay[i * 2 + 1] = PWM_demo[i];
					delay[i * 2 + 1] = PWM_generated[i];
					//PWM_total += PWM_demo[i];
					PWM_total += PWM_generated[i];
				}
				delay[16] = PWM_PAUSE;
				delay[17] = PWM_PACKET_LENGTH - 9 * PWM_PAUSE - PWM_total;

				 if (first_iter) {
					 __HAL_TIM_SET_AUTORELOAD(&htim3, 1); // activate
					 first_iter = 0;
				 }
			}
		}
		osDelayUntil(lastTick + ticksDelay);
	}
  /* USER CODE END StartTransmitPWM */
}

/* USER CODE BEGIN Header_StartAltitudeMeasure */
void sync(uint16_t interval){
	// align
	while(1) {
		uint8_t a = 0xCC;
		HAL_UART_Receive(&huart2, &a, sizeof(uint8_t), interval * 2);
		if (a == 0xAA) {
			HAL_UART_Receive(&huart2, &a, sizeof(uint8_t), interval * 2);
			if (a == 0xAA){
				HAL_UART_Receive(&huart2, &a, sizeof(uint8_t), interval * 2);
				HAL_UART_Receive(&huart2, &a, sizeof(uint8_t), interval * 2);
				break;
			} else {
				HAL_UART_Receive(&huart2, &a, sizeof(uint8_t), interval * 2);
				break;
			}
		}
	}
}
/**
* @brief Function implementing the altitudeMeasure thread.
* @param argument: Not used
* @retval None
*/
/* USER CODE END Header_StartAltitudeMeasure */
void StartAltitudeMeasure(void *argument)
{
  /* USER CODE BEGIN StartAltitudeMeasure */
  /* Infinite loop */
	uint8_t lastBufferIdx = 0;
	//float heightsMock[] = { 2.0f, 1.9997f, 1.9875f, 1.9633f, 1.9271f, 1.8788f, 1.8185f, 1.7462f, 1.6618f, 1.5655f, 1.4571f, 1.3367f };
	uint16_t interval = (int)(1000.0f * HEIGHT_SAMPLING_INTE);
	/*
	uint16_t altitude;
	uint16_t status;
	uint16_t packet[2];
	*/
	uint8_t altitude;

	// align
	//sync(interval);

  for(;;)
  {
    if (MOCK_ALTITUDE) {
    	// get height from usb cdc receive interrupt
    	/*
    	 * Height from simulation: tested, but keeping here
    	 *
    	 *
    	while(!height_ready) {
    		osDelay(2);
    	}

    	autolander_newMeasurement(height_from_simul);

    	height_ready = 0;
    	*/

    	uint32_t start_tick = osKernelGetTickCount();

    	if (SEND_ALTITUDE) {
			float data[2];
			char b[] = { 0xaa, 0xa1, 0xaa, 0xa1 };
			memcpy(&data[0], &b, sizeof(float));
			//data[1] = heightsMock[heightSample_idx % 12];
			if (osSemaphoreAcquire(wifiBufferSemaphoreHandle, 5) == osOK) {
				addToWifiBuffer(&data[0], 2, &lastBufferIdx);
				osSemaphoreRelease(wifiBufferSemaphoreHandle);
			}
		}

    	//autolander_newMeasurement(heightsMock[heightSample_idx % 12]); // mod, only need 12 samples

    	osDelayUntil(start_tick + (int)(1000.0f * HEIGHT_SAMPLING_INTE));
    } else {
    	// todo: ToF from arduino
    	/*
    	HAL_UART_Receive(&huart2, &packet[0], 2 * sizeof(uint16_t), interval * 2);
    	altitude = packet[1];
    	status = packet[0];

    	while (altitude > 2000) {
    		sync(interval);
        	HAL_UART_Receive(&huart2, &packet[0], 2 * sizeof(uint16_t), interval * 2);
        	altitude = packet[1];
        	status = packet[0];
    	}
    	*/

    	HAL_UART_Receive(&huart2, &altitude, sizeof(uint8_t), interval);

    	float heightFromToF = ((float)altitude) / 100.0f;

    	autolander_newMeasurement(heightFromToF);

    	if (SEND_ALTITUDE){
			float data[2];
			char b[] = { 0xaa, 0xa1, 0xaa, 0xa1 };
			memcpy(&data[0], &b, sizeof(float));
			data[1] = heightFromToF;
			if (osSemaphoreAcquire(wifiBufferSemaphoreHandle, 5) == osOK) {
				addToWifiBuffer(&data[0], 2, &lastBufferIdx);
				osSemaphoreRelease(wifiBufferSemaphoreHandle);
			}
		}
    }

  }
  /* USER CODE END StartAltitudeMeasure */
}

void HAL_TIM_PeriodElapsedCallback(TIM_HandleTypeDef *htim)
{
  /* USER CODE BEGIN Callback 0 */
  if (htim->Instance == TIM3) {
	__HAL_TIM_SET_AUTORELOAD(&htim3, delay[delay_idx]); // set next delay (interleaved PWM_PAUSE and PWM_Pulse[i])
	HAL_GPIO_WritePin(GPIOB, GPIO_PIN_4, delay_idx % 2);
	delay_idx++; delay_idx %= 18;
  }
  /* USER CODE END Callback 0 */
  if (htim->Instance == TIM10) {
    HAL_IncTick();
  }
}

void Error_Handler(void)
{
}

/************************ (C) COPYRIGHT STMicroelectronics *****END OF FILE****/
